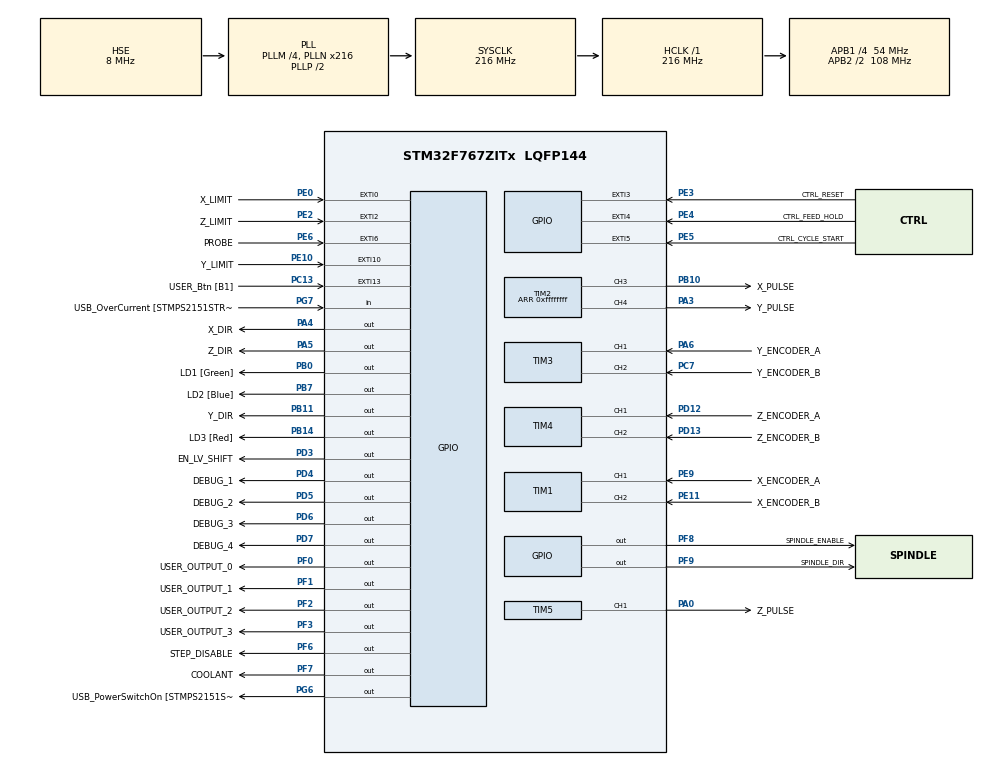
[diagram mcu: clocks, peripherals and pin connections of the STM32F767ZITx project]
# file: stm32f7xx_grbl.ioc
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Dma.Request0=TIM2_UP/CH3
Dma.Request1=TIM2_CH2/CH4
Dma.Request2=TIM5_CH1
Dma.TIM2_CH2/CH4.1.Direction=DMA_MEMORY_TO_PERIPH
Dma.TIM2_CH2/CH4.1.FIFOMode=DMA_FIFOMODE_DISABLE
Dma.TIM2_CH2/CH4.1.Instance=DMA1_Stream6
Dma.TIM2_CH2/CH4.1.MemDataAlignment=DMA_MDATAALIGN_WORD
Dma.TIM2_CH2/CH4.1.MemInc=DMA_MINC_ENABLE
Dma.TIM2_CH2/CH4.1.Mode=DMA_NORMAL
Dma.TIM2_CH2/CH4.1.PeriphDataAlignment=DMA_PDATAALIGN_WORD
Dma.TIM2_CH2/CH4.1.PeriphInc=DMA_PINC_DISABLE
Dma.TIM2_CH2/CH4.1.Priority=DMA_PRIORITY_HIGH
Dma.TIM2_UP/CH3.0.Direction=DMA_MEMORY_TO_PERIPH
Dma.TIM2_UP/CH3.0.FIFOMode=DMA_FIFOMODE_DISABLE
Dma.TIM2_UP/CH3.0.Instance=DMA1_Stream1
Dma.TIM2_UP/CH3.0.MemDataAlignment=DMA_MDATAALIGN_WORD
Dma.TIM2_UP/CH3.0.MemInc=DMA_MINC_ENABLE
Dma.TIM2_UP/CH3.0.Mode=DMA_NORMAL
Dma.TIM2_UP/CH3.0.PeriphDataAlignment=DMA_PDATAALIGN_WORD
Dma.TIM2_UP/CH3.0.PeriphInc=DMA_PINC_DISABLE
Dma.TIM2_UP/CH3.0.Priority=DMA_PRIORITY_HIGH
Dma.TIM5_CH1.2.Direction=DMA_MEMORY_TO_PERIPH
Dma.TIM5_CH1.2.FIFOMode=DMA_FIFOMODE_DISABLE
Dma.TIM5_CH1.2.Instance=DMA1_Stream2
Dma.TIM5_CH1.2.MemDataAlignment=DMA_MDATAALIGN_WORD
Dma.TIM5_CH1.2.MemInc=DMA_MINC_ENABLE
Dma.TIM5_CH1.2.Mode=DMA_NORMAL
Dma.TIM5_CH1.2.PeriphDataAlignment=DMA_PDATAALIGN_WORD
Dma.TIM5_CH1.2.PeriphInc=DMA_PINC_DISABLE
Dma.TIM5_CH1.2.Priority=DMA_PRIORITY_HIGH
Mcu.Family=STM32F7
Mcu.Name=STM32F767ZITx
Mcu.Package=LQFP144
NVIC.DMA1_Stream1_IRQn=true\:0\:0\:true\:false\:true\:false\:true\:true
NVIC.DMA1_Stream2_IRQn=true\:0\:0\:true\:false\:true\:false\:true\:true
NVIC.DMA1_Stream6_IRQn=true\:0\:0\:true\:false\:true\:false\:true\:true
NVIC.EXTI0_IRQn=true\:2\:0\:true\:false\:true\:true\:true\:true
NVIC.EXTI15_10_IRQn=true\:2\:0\:true\:false\:true\:true\:true\:true
NVIC.EXTI2_IRQn=true\:2\:0\:true\:false\:true\:true\:true\:true
NVIC.EXTI3_IRQn=true\:2\:0\:true\:false\:true\:true\:true\:true
NVIC.EXTI4_IRQn=true\:15\:0\:true\:false\:true\:true\:true\:true
NVIC.EXTI9_5_IRQn=true\:14\:0\:true\:false\:true\:true\:true\:true
NVIC.PriorityGroup=NVIC_PRIORITYGROUP_4
NVIC.TIM6_DAC_IRQn=true\:15\:0\:false\:false\:true\:false\:true\:true
NVIC.TIM7_IRQn=true\:13\:0\:true\:false\:true\:true\:true\:true
NVIC.TIM8_TRG_COM_TIM14_IRQn=true\:1\:0\:true\:false\:true\:true\:true\:true
NVIC.TimeBase=TIM6_DAC_IRQn
NVIC.TimeBaseIP=TIM6
PA0/WKUP.GPIO_Label=Z_PULSE
PA0/WKUP.GPIO_ModeDefaultPP=GPIO_MODE_AF_PP
PA0/WKUP.GPIO_PuPd=GPIO_NOPULL
PA0/WKUP.GPIO_Speed=GPIO_SPEED_FREQ_HIGH
PA0/WKUP.Signal=S_TIM5_CH1
PA1.GPIO_Label=RMII_REF_CLK [LAN8742A-CZ-TR_REFCLK0]
PA1.Signal=ETH_REF_CLK
PA10.GPIO_Label=USB_ID
PA10.Signal=USB_OTG_FS_ID
PA11.GPIO_Label=USB_DM
PA11.Signal=USB_OTG_FS_DM
PA12.GPIO_Label=USB_DP
PA12.Signal=USB_OTG_FS_DP
PA13.GPIO_Label=TMS
PA13.Mode=Serial_Wire
PA13.Signal=SYS_JTMS-SWDIO
PA14.GPIO_Label=TCK
PA14.Mode=Serial_Wire
PA14.Signal=SYS_JTCK-SWCLK
PA2.GPIO_Label=RMII_MDIO [LAN8742A-CZ-TR_MDIO]
PA2.Signal=ETH_MDIO
PA3.GPIO_Label=Y_PULSE
PA3.GPIO_ModeDefaultPP=GPIO_MODE_AF_PP
PA3.GPIO_PuPd=GPIO_NOPULL
PA3.GPIO_Speed=GPIO_SPEED_FREQ_LOW
PA3.Signal=S_TIM2_CH4
PA4.GPIO_Label=X_DIR
PA4.GPIO_ModeDefaultOutputPP=GPIO_MODE_OUTPUT_OD
PA4.GPIO_PuPd=GPIO_NOPULL
PA4.GPIO_Speed=GPIO_SPEED_FREQ_HIGH
PA4.PinState=GPIO_PIN_SET
PA4.Signal=GPIO_Output
PA5.GPIO_Label=Z_DIR
PA5.GPIO_ModeDefaultOutputPP=GPIO_MODE_OUTPUT_OD
PA5.GPIO_PuPd=GPIO_NOPULL
PA5.GPIO_Speed=GPIO_SPEED_FREQ_HIGH
PA5.PinState=GPIO_PIN_SET
PA5.Signal=GPIO_Output
PA6.GPIO_Label=Y_ENCODER_A
PA6.Signal=S_TIM3_CH1
PA7.GPIO_Label=RMII_CRS_DV [LAN8742A-CZ-TR_CRS_DV]
PA7.Signal=ETH_CRS_DV
PA8.GPIO_Label=USB_SOF [TP1]
PA8.Signal=USB_OTG_FS_SOF
PA9.GPIO_Label=USB_VBUS
PA9.Signal=USB_OTG_FS_VBUS
PB0.GPIO_Label=LD1 [Green]
PB0.Signal=GPIO_Output
PB10.GPIO_Label=X_PULSE
PB10.GPIO_ModeDefaultPP=GPIO_MODE_AF_PP
PB10.GPIO_PuPd=GPIO_NOPULL
PB10.GPIO_Speed=GPIO_SPEED_FREQ_LOW
PB10.Signal=S_TIM2_CH3
PB11.GPIO_Label=Y_DIR
PB11.GPIO_ModeDefaultOutputPP=GPIO_MODE_OUTPUT_OD
PB11.GPIO_PuPd=GPIO_NOPULL
PB11.GPIO_Speed=GPIO_SPEED_FREQ_HIGH
PB11.PinState=GPIO_PIN_SET
PB11.Signal=GPIO_Output
PB13.GPIO_Label=RMII_TXD1 [LAN8742A-CZ-TR_TXD1]
PB13.Signal=ETH_TXD1
PB14.GPIO_Label=LD3 [Red]
PB14.Signal=GPIO_Output
PB3.GPIO_Label=SW0
PB3.Signal=SYS_JTDO-SWO
PB7.GPIO_Label=LD2 [Blue]
PB7.Signal=GPIO_Output
PC1.GPIO_Label=RMII_MDC [LAN8742A-CZ-TR_MDC]
PC1.Signal=ETH_MDC
PC13.GPIO_Label=USER_Btn [B1]
PC13.Signal=GPXTI13
PC14/OSC32_IN.Mode=LSE-External-Oscillator
PC14/OSC32_IN.Signal=RCC_OSC32_IN
PC15/OSC32_OUT.Mode=LSE-External-Oscillator
PC15/OSC32_OUT.Signal=RCC_OSC32_OUT
PC4.GPIO_Label=RMII_RXD0 [LAN8742A-CZ-TR_RXD0]
PC4.Signal=ETH_RXD0
PC5.GPIO_Label=RMII_RXD1 [LAN8742A-CZ-TR_RXD1]
PC5.Signal=ETH_RXD1
PC7.GPIO_Label=Y_ENCODER_B
PC7.Signal=S_TIM3_CH2
PD12.GPIO_Label=Z_ENCODER_A
PD12.Signal=S_TIM4_CH1
PD13.GPIO_Label=Z_ENCODER_B
PD13.Signal=S_TIM4_CH2
PD3.GPIO_Label=EN_LV_SHIFT
PD3.GPIO_ModeDefaultOutputPP=GPIO_MODE_OUTPUT_OD
PD3.GPIO_PuPd=GPIO_NOPULL
PD3.Signal=GPIO_Output
PD4.GPIO_Label=DEBUG_1
PD4.Signal=GPIO_Output
PD5.GPIO_Label=DEBUG_2
PD5.Signal=GPIO_Output
PD6.GPIO_Label=DEBUG_3
PD6.Signal=GPIO_Output
PD7.GPIO_Label=DEBUG_4
PD7.Signal=GPIO_Output
PD8.GPIO_Label=STLK_RX [STM32F103CBT6_PA3]
PD8.Signal=USART3_TX
PD9.GPIO_Label=STLK_TX [STM32F103CBT6_PA2]
PD9.Signal=USART3_RX
PE0.GPIO_Label=X_LIMIT
PE0.GPIO_ModeDefaultEXTI=GPIO_MODE_IT_RISING_FALLING
PE0.GPIO_PuPd=GPIO_PULLUP
PE0.Signal=GPXTI0
PE10.GPIO_Label=Y_LIMIT
PE10.GPIO_ModeDefaultEXTI=GPIO_MODE_IT_RISING_FALLING
PE10.GPIO_PuPd=GPIO_PULLUP
PE10.Signal=GPXTI10
PE11.GPIO_Label=X_ENCODER_B
PE11.Signal=S_TIM1_CH2
PE2.GPIO_Label=Z_LIMIT
PE2.GPIO_ModeDefaultEXTI=GPIO_MODE_IT_RISING_FALLING
PE2.GPIO_PuPd=GPIO_PULLUP
PE2.Signal=GPXTI2
PE3.GPIO_Label=CTRL_RESET
PE3.GPIO_ModeDefaultEXTI=GPIO_MODE_IT_RISING_FALLING
PE3.GPIO_PuPd=GPIO_PULLUP
PE3.Signal=GPXTI3
PE4.GPIO_Label=CTRL_FEED_HOLD
PE4.GPIO_ModeDefaultEXTI=GPIO_MODE_IT_RISING_FALLING
PE4.GPIO_PuPd=GPIO_PULLUP
PE4.Signal=GPXTI4
PE5.GPIO_Label=CTRL_CYCLE_START
PE5.GPIO_ModeDefaultEXTI=GPIO_MODE_IT_RISING_FALLING
PE5.GPIO_PuPd=GPIO_PULLUP
PE5.Signal=GPXTI5
PE6.GPIO_Label=PROBE
PE6.GPIO_ModeDefaultEXTI=GPIO_MODE_IT_RISING_FALLING
PE6.GPIO_PuPd=GPIO_PULLUP
PE6.Signal=GPXTI6
PE9.GPIO_Label=X_ENCODER_A
PE9.Signal=S_TIM1_CH1
PF0.GPIO_Label=USER_OUTPUT_0
PF0.GPIO_ModeDefaultOutputPP=GPIO_MODE_OUTPUT_OD
PF0.GPIO_PuPd=GPIO_NOPULL
PF0.PinState=GPIO_PIN_SET
PF0.Signal=GPIO_Output
PF1.GPIO_Label=USER_OUTPUT_1
PF1.GPIO_ModeDefaultOutputPP=GPIO_MODE_OUTPUT_OD
PF1.GPIO_PuPd=GPIO_NOPULL
PF1.PinState=GPIO_PIN_SET
PF1.Signal=GPIO_Output
PF2.GPIO_Label=USER_OUTPUT_2
PF2.GPIO_ModeDefaultOutputPP=GPIO_MODE_OUTPUT_OD
PF2.GPIO_PuPd=GPIO_NOPULL
PF2.PinState=GPIO_PIN_SET
PF2.Signal=GPIO_Output
PF3.GPIO_Label=USER_OUTPUT_3
PF3.GPIO_ModeDefaultOutputPP=GPIO_MODE_OUTPUT_OD
PF3.GPIO_PuPd=GPIO_NOPULL
PF3.PinState=GPIO_PIN_SET
PF3.Signal=GPIO_Output
PF6.GPIO_Label=STEP_DISABLE
PF6.GPIO_ModeDefaultOutputPP=GPIO_MODE_OUTPUT_OD
PF6.GPIO_PuPd=GPIO_NOPULL
PF6.PinState=GPIO_PIN_SET
PF6.Signal=GPIO_Output
PF7.GPIO_Label=COOLANT
PF7.GPIO_ModeDefaultOutputPP=GPIO_MODE_OUTPUT_OD
PF7.GPIO_PuPd=GPIO_NOPULL
PF7.PinState=GPIO_PIN_SET
PF7.Signal=GPIO_Output
PF8.GPIO_Label=SPINDLE_ENABLE
PF8.GPIO_ModeDefaultOutputPP=GPIO_MODE_OUTPUT_OD
PF8.GPIO_PuPd=GPIO_NOPULL
PF8.PinState=GPIO_PIN_SET
PF8.Signal=GPIO_Output
PF9.GPIO_Label=SPINDLE_DIR
PF9.GPIO_ModeDefaultOutputPP=GPIO_MODE_OUTPUT_OD
PF9.GPIO_PuPd=GPIO_NOPULL
PF9.PinState=GPIO_PIN_SET
PF9.Signal=GPIO_Output
PG11.GPIO_Label=RMII_TX_EN [LAN8742A-CZ-TR_TXEN]
PG11.Signal=ETH_TX_EN
PG13.GPIO_Label=RMII_TXD0 [LAN8742A-CZ-TR_TXD0]
PG13.Signal=ETH_TXD0
PG6.GPIO_Label=USB_PowerSwitchOn [STMPS2151STR_EN]
PG6.Signal=GPIO_Output
PG7.GPIO_Label=USB_OverCurrent [STMPS2151STR_FAULT]
PG7.Signal=GPIO_Input
PH0/OSC_IN.GPIO_Label=MCO [STM32F103CBT6_PA8]
PH0/OSC_IN.Mode=HSE-External-Clock-Source
PH0/OSC_IN.Signal=RCC_OSC_IN
PH1/OSC_OUT.Mode=HSE-External-Clock-Source
PH1/OSC_OUT.Signal=RCC_OSC_OUT
ProjectManager.HeapSize=0x200
ProjectManager.StackSize=0x400
ProjectManager.TargetToolchain=STM32CubeIDE
RCC.48MHZClocksFreq_Value=24000000
RCC.AHBFreq_Value=216000000
RCC.APB1CLKDivider=RCC_HCLK_DIV4
RCC.APB1Freq_Value=54000000
RCC.APB1TimFreq_Value=108000000
RCC.APB2CLKDivider=RCC_HCLK_DIV2
RCC.APB2Freq_Value=108000000
RCC.APB2TimFreq_Value=216000000
RCC.CortexFreq_Value=216000000
RCC.HCLKFreq_Value=216000000
RCC.HSE_VALUE=8000000
RCC.HSI_VALUE=16000000
RCC.PLLM=4
RCC.PLLMUL=RCC_PLL_MUL9
RCC.PLLN=216
RCC.PLLSourceVirtual=RCC_PLLSOURCE_HSE
RCC.PRESCALERUSB=RCC_USBCLKSOURCE_PLL_DIV1_5
RCC.SYSCLKFreq_VALUE=216000000
RCC.SYSCLKSource=RCC_SYSCLKSOURCE_PLLCLK
RCC.SYSCLKSourceVirtual=RCC_SYSCLKSOURCE_PLLCLK
RCC.USBFreq_Value=216000000
RCC.VCOOutputFreq_Value=432000000
SH.S_TIM1_CH1.0=TIM1_CH1,Encoder_Interface
SH.S_TIM1_CH2.0=TIM1_CH2,Encoder_Interface
SH.S_TIM2_CH3.0=TIM2_CH3,Output Compare3 CH3
SH.S_TIM2_CH4.0=TIM2_CH4,Output Compare4 CH4
SH.S_TIM3_CH1.0=TIM3_CH1,Encoder_Interface
SH.S_TIM3_CH2.0=TIM3_CH2,Encoder_Interface
SH.S_TIM4_CH1.0=TIM4_CH1,Encoder_Interface
SH.S_TIM4_CH2.0=TIM4_CH2,Encoder_Interface
SH.S_TIM5_CH1.0=TIM5_CH1,Output Compare1 CH1
TIM1.EncoderMode=TIM_ENCODERMODE_TI12
TIM14.AutoReloadPreload=TIM_AUTORELOAD_PRELOAD_DISABLE
TIM14.Period=107
TIM14.Prescaler=0
TIM2.Channel-Output\ Compare3\ CH3=TIM_CHANNEL_3
TIM2.Channel-Output\ Compare4\ CH4=TIM_CHANNEL_4
TIM2.OCMode_3=TIM_OCMODE_TOGGLE
TIM2.OCMode_4=TIM_OCMODE_TOGGLE
TIM2.OCPolarity_3=TIM_OCPOLARITY_HIGH
TIM2.OCPolarity_4=TIM_OCPOLARITY_HIGH
TIM2.Period=0xffffffff
TIM2.TIM_MasterOutputTrigger=TIM_TRGO_ENABLE
TIM2.TIM_MasterSlaveMode=TIM_MASTERSLAVEMODE_ENABLE
TIM3.EncoderMode=TIM_ENCODERMODE_TI12
TIM4.EncoderMode=TIM_ENCODERMODE_TI12
TIM5.Channel-Output\ Compare1\ CH1=TIM_CHANNEL_1
TIM5.OCMode_1=TIM_OCMODE_TOGGLE
TIM5.OCPolarity_1=TIM_OCPOLARITY_HIGH
TIM7.Period=3276
TIM7.Prescaler=10799
VP_SYS_VS_tim6.Mode=TIM6
VP_TIM14_VS_ClockSourceINT.Mode=Enable_Timer
VP_TIM2_VS_ClockSourceINT.Mode=Internal
VP_TIM5_VS_ClockSourceINT.Mode=Internal
VP_TIM5_VS_ClockSourceITR.Mode=TriggerSource_ITR0
VP_TIM5_VS_ControllerModeGated.Mode=Gated Mode
VP_TIM7_VS_ClockSourceINT.Mode=Enable_Timer
VP_WWDG_VS_WWDG.Mode=WWDG_Activate
WWDG.Counter=64
WWDG.Prescaler=WWDG_PRESCALER_8
WWDG.Window=64
board=NUCLEO-F767ZI

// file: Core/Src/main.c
/* USER CODE BEGIN Header */
/**
 ******************************************************************************
 * @file           : main.c
 * @brief          : Main program body
 ******************************************************************************
 * @attention
 *
 * Copyright (c) 2024 STMicroelectronics.
 * All rights reserved.
 *
 * This software is licensed under terms that can be found in the LICENSE file
 * in the root directory of this software component.
 * If no LICENSE file comes with this software, it is provided AS-IS.
 *
 ******************************************************************************
 */
/* USER CODE END Header */
#include "main.h"

/* USER CODE BEGIN Includes */
#include <stdarg.h>
#include <stdio.h>
#include "stm32f7xx_grbl.h"
#include "encoder.h"
#include "grbl.h"

/* USER CODE END Includes */

TIM_HandleTypeDef htim1;
TIM_HandleTypeDef htim2;
TIM_HandleTypeDef htim3;
TIM_HandleTypeDef htim4;
TIM_HandleTypeDef htim5;
TIM_HandleTypeDef htim7;
TIM_HandleTypeDef htim14;
DMA_HandleTypeDef hdma_tim2_up_ch3;
DMA_HandleTypeDef hdma_tim2_ch2_ch4;
DMA_HandleTypeDef hdma_tim5_ch1;

WWDG_HandleTypeDef hwwdg;

/* USER CODE BEGIN PV */
TaskHandle_t mainGRBLTaskHandle = NULL;
extern uint8_t stepBlockedAxes;
SemaphoreHandle_t loggingSemaphoreHandle;
extern SemaphoreHandle_t deleteTaskSemaphoreHandle;
uint8_t wwdgStartFlag = 0;

/* USER CODE END PV */

void SystemClock_Config(void);
static void MX_GPIO_Init(void);
static void MX_DMA_Init(void);
static void MX_TIM3_Init(void);
static void MX_TIM4_Init(void);
static void MX_TIM2_Init(void);
static void MX_TIM1_Init(void);
static void MX_TIM5_Init(void);
static void MX_TIM7_Init(void);
static void MX_TIM14_Init(void);
static void MX_WWDG_Init(void);

int main(void)
{

  /* USER CODE BEGIN 1 */
  // Enable the Cortex-M7 instruction cache. Without it, code runs straight from
  // Flash with wait-states (FLASH_LATENCY_7 @ 216 MHz), making hot paths like
  // stepCalculatePulseData several times slower than necessary. The I-cache only
  // caches instruction fetches, so there is no DMA coherency concern (unlike the
  // D-cache, which would need MPU/cache-maintenance for the DMA buffers).
  SCB_EnableICache();

  // initialize the handle of semaphore for logging
  // to protect the critical section in the vLoggingPrintf function.
  loggingSemaphoreHandle = xSemaphoreCreateBinary();
  xSemaphoreGive(loggingSemaphoreHandle);

  /* USER CODE END 1 */

  /* MCU Configuration--------------------------------------------------------*/

  /* Reset of all peripherals, Initializes the Flash interface and the Systick. */
  HAL_Init();

  /* USER CODE BEGIN Init */
  // set priority grouping to 0 to pass the assertion of FreeRTOS at port.c
  HAL_NVIC_SetPriorityGrouping(0);

  /* USER CODE END Init */

  /* Configure the system clock */
  SystemClock_Config();

  /* Initialize all configured peripherals */
  MX_GPIO_Init();
  MX_DMA_Init();
  MX_TIM3_Init();
  MX_TIM4_Init();
  MX_TIM2_Init();
  MX_TIM1_Init();
  MX_TIM5_Init();
  MX_TIM7_Init();
  MX_TIM14_Init();
  MX_WWDG_Init();
  /* USER CODE BEGIN 2 */
  // start Timer 7
  HAL_TIM_Base_Start_IT(&htim7);

  // start Timer 1 in encoder mode
  HAL_TIM_Encoder_Start(&htim1, TIM_CHANNEL_ALL);

  // start microsecond timer and software timer in FreeRTOS
  utilsStartUsTimer(&htim14);

  // create grbl task
  xTaskCreate(mainGRBL, "grblTask", configMINIMAL_STACK_SIZE * 5, NULL, tskIDLE_PRIORITY, &mainGRBLTaskHandle);

  // start scheduler
  vTaskStartScheduler();

  /* It should never get here as the scheduler is started. */

  /* USER CODE END 2 */

  /* Infinite loop */
  while (1)
  {

  }
}

void SystemClock_Config(void)
{
  RCC_OscInitTypeDef RCC_OscInitStruct = {0};
  RCC_ClkInitTypeDef RCC_ClkInitStruct = {0};

  /** Configure LSE Drive Capability
  */
  HAL_PWR_EnableBkUpAccess();

  /** Configure the main internal regulator output voltage
  */
  __HAL_RCC_PWR_CLK_ENABLE();
  __HAL_PWR_VOLTAGESCALING_CONFIG(PWR_REGULATOR_VOLTAGE_SCALE1);

  /** Initializes the RCC Oscillators according to the specified parameters
  * in the RCC_OscInitTypeDef structure.
  */
  RCC_OscInitStruct.OscillatorType = RCC_OSCILLATORTYPE_HSE;
  RCC_OscInitStruct.HSEState = RCC_HSE_BYPASS;
  RCC_OscInitStruct.PLL.PLLState = RCC_PLL_ON;
  RCC_OscInitStruct.PLL.PLLSource = RCC_PLLSOURCE_HSE;
  RCC_OscInitStruct.PLL.PLLM = 4;
  RCC_OscInitStruct.PLL.PLLN = 216;
  RCC_OscInitStruct.PLL.PLLP = RCC_PLLP_DIV2;
  RCC_OscInitStruct.PLL.PLLQ = 2;
  RCC_OscInitStruct.PLL.PLLR = 2;
  if (HAL_RCC_OscConfig(&RCC_OscInitStruct) != HAL_OK)
  {
    Error_Handler();
  }

  /** Activate the Over-Drive mode
  */
  if (HAL_PWREx_EnableOverDrive() != HAL_OK)
  {
    Error_Handler();
  }

  /** Initializes the CPU, AHB and APB buses clocks
  */
  RCC_ClkInitStruct.ClockType = RCC_CLOCKTYPE_HCLK|RCC_CLOCKTYPE_SYSCLK
                              |RCC_CLOCKTYPE_PCLK1|RCC_CLOCKTYPE_PCLK2;
  RCC_ClkInitStruct.SYSCLKSource = RCC_SYSCLKSOURCE_PLLCLK;
  RCC_ClkInitStruct.AHBCLKDivider = RCC_SYSCLK_DIV1;
  RCC_ClkInitStruct.APB1CLKDivider = RCC_HCLK_DIV4;
  RCC_ClkInitStruct.APB2CLKDivider = RCC_HCLK_DIV2;

  if (HAL_RCC_ClockConfig(&RCC_ClkInitStruct, FLASH_LATENCY_7) != HAL_OK)
  {
    Error_Handler();
  }
}

static void MX_TIM1_Init(void)
{

  TIM_Encoder_InitTypeDef sConfig = {0};
  TIM_MasterConfigTypeDef sMasterConfig = {0};

  htim1.Instance = TIM1;
  htim1.Init.Prescaler = 0;
  htim1.Init.CounterMode = TIM_COUNTERMODE_UP;
  htim1.Init.Period = 65535;
  htim1.Init.ClockDivision = TIM_CLOCKDIVISION_DIV1;
  htim1.Init.RepetitionCounter = 0;
  htim1.Init.AutoReloadPreload = TIM_AUTORELOAD_PRELOAD_DISABLE;
  sConfig.EncoderMode = TIM_ENCODERMODE_TI12;
  sConfig.IC1Polarity = TIM_ICPOLARITY_RISING;
  sConfig.IC1Selection = TIM_ICSELECTION_DIRECTTI;
  sConfig.IC1Prescaler = TIM_ICPSC_DIV1;
  sConfig.IC1Filter = 0;
  sConfig.IC2Polarity = TIM_ICPOLARITY_RISING;
  sConfig.IC2Selection = TIM_ICSELECTION_DIRECTTI;
  sConfig.IC2Prescaler = TIM_ICPSC_DIV1;
  sConfig.IC2Filter = 0;
  if (HAL_TIM_Encoder_Init(&htim1, &sConfig) != HAL_OK)
  {
    Error_Handler();
  }
  sMasterConfig.MasterOutputTrigger = TIM_TRGO_RESET;
  sMasterConfig.MasterOutputTrigger2 = TIM_TRGO2_RESET;
  sMasterConfig.MasterSlaveMode = TIM_MASTERSLAVEMODE_DISABLE;
  if (HAL_TIMEx_MasterConfigSynchronization(&htim1, &sMasterConfig) != HAL_OK)
  {
    Error_Handler();
  }

}

static void MX_TIM2_Init(void)
{

  TIM_ClockConfigTypeDef sClockSourceConfig = {0};
  TIM_MasterConfigTypeDef sMasterConfig = {0};
  TIM_OC_InitTypeDef sConfigOC = {0};

  htim2.Instance = TIM2;
  htim2.Init.Prescaler = 0;
  htim2.Init.CounterMode = TIM_COUNTERMODE_UP;
  htim2.Init.Period = 0xffffffff;
  htim2.Init.ClockDivision = TIM_CLOCKDIVISION_DIV1;
  htim2.Init.AutoReloadPreload = TIM_AUTORELOAD_PRELOAD_DISABLE;
  if (HAL_TIM_Base_Init(&htim2) != HAL_OK)
  {
    Error_Handler();
  }
  sClockSourceConfig.ClockSource = TIM_CLOCKSOURCE_INTERNAL;
  if (HAL_TIM_ConfigClockSource(&htim2, &sClockSourceConfig) != HAL_OK)
  {
    Error_Handler();
  }
  if (HAL_TIM_OC_Init(&htim2) != HAL_OK)
  {
    Error_Handler();
  }
  sMasterConfig.MasterOutputTrigger = TIM_TRGO_ENABLE;
  sMasterConfig.MasterSlaveMode = TIM_MASTERSLAVEMODE_ENABLE;
  if (HAL_TIMEx_MasterConfigSynchronization(&htim2, &sMasterConfig) != HAL_OK)
  {
    Error_Handler();
  }
  sConfigOC.OCMode = TIM_OCMODE_TOGGLE;
  sConfigOC.Pulse = 0;
  sConfigOC.OCPolarity = TIM_OCPOLARITY_HIGH;
  sConfigOC.OCFastMode = TIM_OCFAST_DISABLE;
  if (HAL_TIM_OC_ConfigChannel(&htim2, &sConfigOC, TIM_CHANNEL_3) != HAL_OK)
  {
    Error_Handler();
  }
  if (HAL_TIM_OC_ConfigChannel(&htim2, &sConfigOC, TIM_CHANNEL_4) != HAL_OK)
  {
    Error_Handler();
  }
  HAL_TIM_MspPostInit(&htim2);

}

static void MX_TIM3_Init(void)
{

  TIM_Encoder_InitTypeDef sConfig = {0};
  TIM_MasterConfigTypeDef sMasterConfig = {0};

  htim3.Instance = TIM3;
  htim3.Init.Prescaler = 0;
  htim3.Init.CounterMode = TIM_COUNTERMODE_UP;
  htim3.Init.Period = 65535;
  htim3.Init.ClockDivision = TIM_CLOCKDIVISION_DIV1;
  htim3.Init.AutoReloadPreload = TIM_AUTORELOAD_PRELOAD_DISABLE;
  sConfig.EncoderMode = TIM_ENCODERMODE_TI12;
  sConfig.IC1Polarity = TIM_ICPOLARITY_RISING;
  sConfig.IC1Selection = TIM_ICSELECTION_DIRECTTI;
  sConfig.IC1Prescaler = TIM_ICPSC_DIV1;
  sConfig.IC1Filter = 0;
  sConfig.IC2Polarity = TIM_ICPOLARITY_RISING;
  sConfig.IC2Selection = TIM_ICSELECTION_DIRECTTI;
  sConfig.IC2Prescaler = TIM_ICPSC_DIV1;
  sConfig.IC2Filter = 0;
  if (HAL_TIM_Encoder_Init(&htim3, &sConfig) != HAL_OK)
  {
    Error_Handler();
  }
  sMasterConfig.MasterOutputTrigger = TIM_TRGO_RESET;
  sMasterConfig.MasterSlaveMode = TIM_MASTERSLAVEMODE_DISABLE;
  if (HAL_TIMEx_MasterConfigSynchronization(&htim3, &sMasterConfig) != HAL_OK)
  {
    Error_Handler();
  }

}

static void MX_TIM4_Init(void)
{

  TIM_Encoder_InitTypeDef sConfig = {0};
  TIM_MasterConfigTypeDef sMasterConfig = {0};

  htim4.Instance = TIM4;
  htim4.Init.Prescaler = 0;
  htim4.Init.CounterMode = TIM_COUNTERMODE_UP;
  htim4.Init.Period = 65535;
  htim4.Init.ClockDivision = TIM_CLOCKDIVISION_DIV1;
  htim4.Init.AutoReloadPreload = TIM_AUTORELOAD_PRELOAD_DISABLE;
  sConfig.EncoderMode = TIM_ENCODERMODE_TI12;
  sConfig.IC1Polarity = TIM_ICPOLARITY_RISING;
  sConfig.IC1Selection = TIM_ICSELECTION_DIRECTTI;
  sConfig.IC1Prescaler = TIM_ICPSC_DIV1;
  sConfig.IC1Filter = 0;
  sConfig.IC2Polarity = TIM_ICPOLARITY_RISING;
  sConfig.IC2Selection = TIM_ICSELECTION_DIRECTTI;
  sConfig.IC2Prescaler = TIM_ICPSC_DIV1;
  sConfig.IC2Filter = 0;
  if (HAL_TIM_Encoder_Init(&htim4, &sConfig) != HAL_OK)
  {
    Error_Handler();
  }
  sMasterConfig.MasterOutputTrigger = TIM_TRGO_RESET;
  sMasterConfig.MasterSlaveMode = TIM_MASTERSLAVEMODE_DISABLE;
  if (HAL_TIMEx_MasterConfigSynchronization(&htim4, &sMasterConfig) != HAL_OK)
  {
    Error_Handler();
  }

}

static void MX_TIM5_Init(void)
{

  TIM_ClockConfigTypeDef sClockSourceConfig = {0};
  TIM_SlaveConfigTypeDef sSlaveConfig = {0};
  TIM_MasterConfigTypeDef sMasterConfig = {0};
  TIM_OC_InitTypeDef sConfigOC = {0};

  htim5.Instance = TIM5;
  htim5.Init.Prescaler = 0;
  htim5.Init.CounterMode = TIM_COUNTERMODE_UP;
  htim5.Init.Period = 4294967295;
  htim5.Init.ClockDivision = TIM_CLOCKDIVISION_DIV1;
  htim5.Init.AutoReloadPreload = TIM_AUTORELOAD_PRELOAD_DISABLE;
  if (HAL_TIM_Base_Init(&htim5) != HAL_OK)
  {
    Error_Handler();
  }
  sClockSourceConfig.ClockSource = TIM_CLOCKSOURCE_INTERNAL;
  if (HAL_TIM_ConfigClockSource(&htim5, &sClockSourceConfig) != HAL_OK)
  {
    Error_Handler();
  }
  if (HAL_TIM_OC_Init(&htim5) != HAL_OK)
  {
    Error_Handler();
  }
  sSlaveConfig.SlaveMode = TIM_SLAVEMODE_GATED;
  sSlaveConfig.InputTrigger = TIM_TS_ITR0;
  if (HAL_TIM_SlaveConfigSynchro(&htim5, &sSlaveConfig) != HAL_OK)
  {
    Error_Handler();
  }
  sMasterConfig.MasterOutputTrigger = TIM_TRGO_RESET;
  sMasterConfig.MasterSlaveMode = TIM_MASTERSLAVEMODE_DISABLE;
  if (HAL_TIMEx_MasterConfigSynchronization(&htim5, &sMasterConfig) != HAL_OK)
  {
    Error_Handler();
  }
  sConfigOC.OCMode = TIM_OCMODE_TOGGLE;
  sConfigOC.Pulse = 0;
  sConfigOC.OCPolarity = TIM_OCPOLARITY_HIGH;
  sConfigOC.OCFastMode = TIM_OCFAST_DISABLE;
  if (HAL_TIM_OC_ConfigChannel(&htim5, &sConfigOC, TIM_CHANNEL_1) != HAL_OK)
  {
    Error_Handler();
  }
  HAL_TIM_MspPostInit(&htim5);

}

static void MX_TIM7_Init(void)
{

  TIM_MasterConfigTypeDef sMasterConfig = {0};

  htim7.Instance = TIM7;
  htim7.Init.Prescaler = 10799;
  htim7.Init.CounterMode = TIM_COUNTERMODE_UP;
  htim7.Init.Period = 3276;
  htim7.Init.AutoReloadPreload = TIM_AUTORELOAD_PRELOAD_DISABLE;
  if (HAL_TIM_Base_Init(&htim7) != HAL_OK)
  {
    Error_Handler();
  }
  sMasterConfig.MasterOutputTrigger = TIM_TRGO_RESET;
  sMasterConfig.MasterSlaveMode = TIM_MASTERSLAVEMODE_DISABLE;
  if (HAL_TIMEx_MasterConfigSynchronization(&htim7, &sMasterConfig) != HAL_OK)
  {
    Error_Handler();
  }

}

static void MX_TIM14_Init(void)
{

  htim14.Instance = TIM14;
  htim14.Init.Prescaler = 0;
  htim14.Init.CounterMode = TIM_COUNTERMODE_UP;
  htim14.Init.Period = 107;
  htim14.Init.ClockDivision = TIM_CLOCKDIVISION_DIV1;
  htim14.Init.AutoReloadPreload = TIM_AUTORELOAD_PRELOAD_DISABLE;
  if (HAL_TIM_Base_Init(&htim14) != HAL_OK)
  {
    Error_Handler();
  }

}

static void MX_WWDG_Init(void)
{

  /* USER CODE BEGIN WWDG_Init 0 */
  if (wwdgStartFlag == 0)
  {
    return;
  }

  /* USER CODE END WWDG_Init 0 */

  hwwdg.Instance = WWDG;
  hwwdg.Init.Prescaler = WWDG_PRESCALER_8;
  hwwdg.Init.Window = 64;
  hwwdg.Init.Counter = 64;
  hwwdg.Init.EWIMode = WWDG_EWI_DISABLE;
  if (HAL_WWDG_Init(&hwwdg) != HAL_OK)
  {
    Error_Handler();
  }

}

static void MX_DMA_Init(void)
{

  /* DMA controller clock enable */
  __HAL_RCC_DMA1_CLK_ENABLE();

  /* DMA interrupt init */
  /* DMA1_Stream1_IRQn interrupt configuration */
  HAL_NVIC_SetPriority(DMA1_Stream1_IRQn, 0, 0);
  HAL_NVIC_EnableIRQ(DMA1_Stream1_IRQn);
  /* DMA1_Stream2_IRQn interrupt configuration */
  HAL_NVIC_SetPriority(DMA1_Stream2_IRQn, 0, 0);
  HAL_NVIC_EnableIRQ(DMA1_Stream2_IRQn);
  /* DMA1_Stream6_IRQn interrupt configuration */
  HAL_NVIC_SetPriority(DMA1_Stream6_IRQn, 0, 0);
  HAL_NVIC_EnableIRQ(DMA1_Stream6_IRQn);

}

static void MX_GPIO_Init(void)
{
  GPIO_InitTypeDef GPIO_InitStruct = {0};

  /* GPIO Ports Clock Enable */
  __HAL_RCC_GPIOE_CLK_ENABLE();
  __HAL_RCC_GPIOC_CLK_ENABLE();
  __HAL_RCC_GPIOF_CLK_ENABLE();
  __HAL_RCC_GPIOH_CLK_ENABLE();
  __HAL_RCC_GPIOA_CLK_ENABLE();
  __HAL_RCC_GPIOB_CLK_ENABLE();
  __HAL_RCC_GPIOD_CLK_ENABLE();
  __HAL_RCC_GPIOG_CLK_ENABLE();

  /*Configure GPIO pin Output Level */
  HAL_GPIO_WritePin(GPIOF, USER_OUTPUT_0_Pin|USER_OUTPUT_1_Pin|USER_OUTPUT_2_Pin|USER_OUTPUT_3_Pin
                          |STEP_DISABLE_Pin|COOLANT_Pin|SPINDLE_ENABLE_Pin|SPINDLE_DIR_Pin, GPIO_PIN_SET);

  /*Configure GPIO pin Output Level */
  HAL_GPIO_WritePin(GPIOA, X_DIR_Pin|Z_DIR_Pin, GPIO_PIN_SET);

  /*Configure GPIO pin Output Level */
  HAL_GPIO_WritePin(GPIOB, LD1_Pin|LD3_Pin|LD2_Pin, GPIO_PIN_RESET);

  /*Configure GPIO pin Output Level */
  HAL_GPIO_WritePin(Y_DIR_GPIO_Port, Y_DIR_Pin, GPIO_PIN_SET);

  /*Configure GPIO pin Output Level */
  HAL_GPIO_WritePin(USB_PowerSwitchOn_GPIO_Port, USB_PowerSwitchOn_Pin, GPIO_PIN_RESET);

  /*Configure GPIO pin Output Level */
  HAL_GPIO_WritePin(GPIOD, EN_LV_SHIFT_Pin|DEBUG_1_Pin|DEBUG_2_Pin|DEBUG_3_Pin
                          |DEBUG_4_Pin, GPIO_PIN_RESET);

  /*Configure GPIO pins : Z_LIMIT_Pin CTRL_RESET_Pin CTRL_FEED_HOLD_Pin CTRL_CYCLE_START_Pin
                           PROBE_Pin Y_LIMIT_Pin X_LIMIT_Pin */
  GPIO_InitStruct.Pin = Z_LIMIT_Pin|CTRL_RESET_Pin|CTRL_FEED_HOLD_Pin|CTRL_CYCLE_START_Pin
                          |PROBE_Pin|Y_LIMIT_Pin|X_LIMIT_Pin;
  GPIO_InitStruct.Mode = GPIO_MODE_IT_RISING_FALLING;
  GPIO_InitStruct.Pull = GPIO_PULLUP;
  HAL_GPIO_Init(GPIOE, &GPIO_InitStruct);

  /*Configure GPIO pin : USER_Btn_Pin */
  GPIO_InitStruct.Pin = USER_Btn_Pin;
  GPIO_InitStruct.Mode = GPIO_MODE_IT_RISING;
  GPIO_InitStruct.Pull = GPIO_NOPULL;
  HAL_GPIO_Init(USER_Btn_GPIO_Port, &GPIO_InitStruct);

  /*Configure GPIO pins : USER_OUTPUT_0_Pin USER_OUTPUT_1_Pin USER_OUTPUT_2_Pin USER_OUTPUT_3_Pin
                           STEP_DISABLE_Pin COOLANT_Pin SPINDLE_ENABLE_Pin SPINDLE_DIR_Pin */
  GPIO_InitStruct.Pin = USER_OUTPUT_0_Pin|USER_OUTPUT_1_Pin|USER_OUTPUT_2_Pin|USER_OUTPUT_3_Pin
                          |STEP_DISABLE_Pin|COOLANT_Pin|SPINDLE_ENABLE_Pin|SPINDLE_DIR_Pin;
  GPIO_InitStruct.Mode = GPIO_MODE_OUTPUT_OD;
  GPIO_InitStruct.Pull = GPIO_NOPULL;
  GPIO_InitStruct.Speed = GPIO_SPEED_FREQ_LOW;
  HAL_GPIO_Init(GPIOF, &GPIO_InitStruct);

  /*Configure GPIO pins : RMII_MDC_Pin RMII_RXD0_Pin RMII_RXD1_Pin */
  GPIO_InitStruct.Pin = RMII_MDC_Pin|RMII_RXD0_Pin|RMII_RXD1_Pin;
  GPIO_InitStruct.Mode = GPIO_MODE_AF_PP;
  GPIO_InitStruct.Pull = GPIO_NOPULL;
  GPIO_InitStruct.Speed = GPIO_SPEED_FREQ_VERY_HIGH;
  GPIO_InitStruct.Alternate = GPIO_AF11_ETH;
  HAL_GPIO_Init(GPIOC, &GPIO_InitStruct);

  /*Configure GPIO pins : RMII_REF_CLK_Pin RMII_MDIO_Pin RMII_CRS_DV_Pin */
  GPIO_InitStruct.Pin = RMII_REF_CLK_Pin|RMII_MDIO_Pin|RMII_CRS_DV_Pin;
  GPIO_InitStruct.Mode = GPIO_MODE_AF_PP;
  GPIO_InitStruct.Pull = GPIO_NOPULL;
  GPIO_InitStruct.Speed = GPIO_SPEED_FREQ_VERY_HIGH;
  GPIO_InitStruct.Alternate = GPIO_AF11_ETH;
  HAL_GPIO_Init(GPIOA, &GPIO_InitStruct);

  /*Configure GPIO pins : X_DIR_Pin Z_DIR_Pin */
  GPIO_InitStruct.Pin = X_DIR_Pin|Z_DIR_Pin;
  GPIO_InitStruct.Mode = GPIO_MODE_OUTPUT_OD;
  GPIO_InitStruct.Pull = GPIO_NOPULL;
  GPIO_InitStruct.Speed = GPIO_SPEED_FREQ_HIGH;
  HAL_GPIO_Init(GPIOA, &GPIO_InitStruct);

  /*Configure GPIO pins : LD1_Pin LD3_Pin LD2_Pin */
  GPIO_InitStruct.Pin = LD1_Pin|LD3_Pin|LD2_Pin;
  GPIO_InitStruct.Mode = GPIO_MODE_OUTPUT_PP;
  GPIO_InitStruct.Pull = GPIO_NOPULL;
  GPIO_InitStruct.Speed = GPIO_SPEED_FREQ_LOW;
  HAL_GPIO_Init(GPIOB, &GPIO_InitStruct);

  /*Configure GPIO pin : Y_DIR_Pin */
  GPIO_InitStruct.Pin = Y_DIR_Pin;
  GPIO_InitStruct.Mode = GPIO_MODE_OUTPUT_OD;
  GPIO_InitStruct.Pull = GPIO_NOPULL;
  GPIO_InitStruct.Speed = GPIO_SPEED_FREQ_HIGH;
  HAL_GPIO_Init(Y_DIR_GPIO_Port, &GPIO_InitStruct);

  /*Configure GPIO pin : RMII_TXD1_Pin */
  GPIO_InitStruct.Pin = RMII_TXD1_Pin;
  GPIO_InitStruct.Mode = GPIO_MODE_AF_PP;
  GPIO_InitStruct.Pull = GPIO_NOPULL;
  GPIO_InitStruct.Speed = GPIO_SPEED_FREQ_VERY_HIGH;
  GPIO_InitStruct.Alternate = GPIO_AF11_ETH;
  HAL_GPIO_Init(RMII_TXD1_GPIO_Port, &GPIO_InitStruct);

  /*Configure GPIO pins : STLK_RX_Pin STLK_TX_Pin */
  GPIO_InitStruct.Pin = STLK_RX_Pin|STLK_TX_Pin;
  GPIO_InitStruct.Mode = GPIO_MODE_AF_PP;
  GPIO_InitStruct.Pull = GPIO_NOPULL;
  GPIO_InitStruct.Speed = GPIO_SPEED_FREQ_VERY_HIGH;
  GPIO_InitStruct.Alternate = GPIO_AF7_USART3;
  HAL_GPIO_Init(GPIOD, &GPIO_InitStruct);

  /*Configure GPIO pin : USB_PowerSwitchOn_Pin */
  GPIO_InitStruct.Pin = USB_PowerSwitchOn_Pin;
  GPIO_InitStruct.Mode = GPIO_MODE_OUTPUT_PP;
  GPIO_InitStruct.Pull = GPIO_NOPULL;
  GPIO_InitStruct.Speed = GPIO_SPEED_FREQ_LOW;
  HAL_GPIO_Init(USB_PowerSwitchOn_GPIO_Port, &GPIO_InitStruct);

  /*Configure GPIO pin : USB_OverCurrent_Pin */
  GPIO_InitStruct.Pin = USB_OverCurrent_Pin;
  GPIO_InitStruct.Mode = GPIO_MODE_INPUT;
  GPIO_InitStruct.Pull = GPIO_NOPULL;
  HAL_GPIO_Init(USB_OverCurrent_GPIO_Port, &GPIO_InitStruct);

  /*Configure GPIO pins : USB_SOF_Pin USB_ID_Pin USB_DM_Pin USB_DP_Pin */
  GPIO_InitStruct.Pin = USB_SOF_Pin|USB_ID_Pin|USB_DM_Pin|USB_DP_Pin;
  GPIO_InitStruct.Mode = GPIO_MODE_AF_PP;
  GPIO_InitStruct.Pull = GPIO_NOPULL;
  GPIO_InitStruct.Speed = GPIO_SPEED_FREQ_VERY_HIGH;
  GPIO_InitStruct.Alternate = GPIO_AF10_OTG_FS;
  HAL_GPIO_Init(GPIOA, &GPIO_InitStruct);

  /*Configure GPIO pin : USB_VBUS_Pin */
  GPIO_InitStruct.Pin = USB_VBUS_Pin;
  GPIO_InitStruct.Mode = GPIO_MODE_INPUT;
  GPIO_InitStruct.Pull = GPIO_NOPULL;
  HAL_GPIO_Init(USB_VBUS_GPIO_Port, &GPIO_InitStruct);

  /*Configure GPIO pin : EN_LV_SHIFT_Pin */
  GPIO_InitStruct.Pin = EN_LV_SHIFT_Pin;
  GPIO_InitStruct.Mode = GPIO_MODE_OUTPUT_OD;
  GPIO_InitStruct.Pull = GPIO_NOPULL;
  GPIO_InitStruct.Speed = GPIO_SPEED_FREQ_LOW;
  HAL_GPIO_Init(EN_LV_SHIFT_GPIO_Port, &GPIO_InitStruct);

  /*Configure GPIO pins : DEBUG_1_Pin DEBUG_2_Pin DEBUG_3_Pin DEBUG_4_Pin */
  GPIO_InitStruct.Pin = DEBUG_1_Pin|DEBUG_2_Pin|DEBUG_3_Pin|DEBUG_4_Pin;
  GPIO_InitStruct.Mode = GPIO_MODE_OUTPUT_PP;
  GPIO_InitStruct.Pull = GPIO_NOPULL;
  GPIO_InitStruct.Speed = GPIO_SPEED_FREQ_LOW;
  HAL_GPIO_Init(GPIOD, &GPIO_InitStruct);

  /*Configure GPIO pins : RMII_TX_EN_Pin RMII_TXD0_Pin */
  GPIO_InitStruct.Pin = RMII_TX_EN_Pin|RMII_TXD0_Pin;
  GPIO_InitStruct.Mode = GPIO_MODE_AF_PP;
  GPIO_InitStruct.Pull = GPIO_NOPULL;
  GPIO_InitStruct.Speed = GPIO_SPEED_FREQ_VERY_HIGH;
  GPIO_InitStruct.Alternate = GPIO_AF11_ETH;
  HAL_GPIO_Init(GPIOG, &GPIO_InitStruct);

  /* EXTI interrupt init*/
  HAL_NVIC_SetPriority(EXTI0_IRQn, 2, 0);
  HAL_NVIC_EnableIRQ(EXTI0_IRQn);

  HAL_NVIC_SetPriority(EXTI2_IRQn, 2, 0);
  HAL_NVIC_EnableIRQ(EXTI2_IRQn);

  HAL_NVIC_SetPriority(EXTI3_IRQn, 2, 0);
  HAL_NVIC_EnableIRQ(EXTI3_IRQn);

  HAL_NVIC_SetPriority(EXTI4_IRQn, 15, 0);
  HAL_NVIC_EnableIRQ(EXTI4_IRQn);

  HAL_NVIC_SetPriority(EXTI9_5_IRQn, 14, 0);
  HAL_NVIC_EnableIRQ(EXTI9_5_IRQn);

  HAL_NVIC_SetPriority(EXTI15_10_IRQn, 2, 0);
  HAL_NVIC_EnableIRQ(EXTI15_10_IRQn);

}

/* USER CODE BEGIN 4 */

void vLoggingPrintf(const char *pcFormatString, ...)
{
  xSemaphoreTake(loggingSemaphoreHandle, portMAX_DELAY);

  // SEGGER_SYSVIEW_PrintfTarget(pcFormatString);
  va_list arg;

  va_start(arg, pcFormatString);
  vprintf(pcFormatString, arg);
  va_end(arg);

  xSemaphoreGive(loggingSemaphoreHandle);
}

void vApplicationMallocFailedHook(void)
{
  static volatile uint32_t ulMallocFailures = 0;

  /* Called if a call to pvPortMalloc() fails because there is insufficient
  free memory available in the FreeRTOS heap.  pvPortMalloc() is called
  internally by FreeRTOS API functions that create tasks, queues, software
  timers, and semaphores.  The size of the FreeRTOS heap is set by the
  configTOTAL_HEAP_SIZE configuration constant in FreeRTOSConfig.h. */
  ulMallocFailures++;

  vLoggingPrintf("Malloc failed %d times\n", ulMallocFailures);
}

void vApplicationStackOverflowHook(TaskHandle_t xTask, char *pcTaskName)
{
  (void)pcTaskName;
  (void)xTask;

  /* Run time stack overflow checking is performed if
  configCHECK_FOR_STACK_OVERFLOW is defined to 1 or 2.  This hook
  function is called if a stack overflow is detected. */
  taskDISABLE_INTERRUPTS();
  for (;;)
    ;
}

void vApplicationIdleHook(void)
{
  // vLoggingPrintf("Idle Hook\n");

  // check if delete task semaphore is not null
  if (deleteTaskSemaphoreHandle != NULL)
  {
    // give the semaphore to delete the task
    xSemaphoreGive(deleteTaskSemaphoreHandle);
  }
}

void HAL_GPIO_EXTI_Callback(uint16_t GPIO_Pin)
{
  if ((GPIO_Pin & LIMIT_MASK) != 0)
  {
    // triggered is low and not triggered is high by default
    IO_TYPE pinState = (LIMIT_PIN & LIMIT_MASK) ^ LIMIT_MASK;

    // determine whether to trigger limit pin isr or not
    // with taking into consideration the inverted pin mask
    // if it is defined.
#ifdef INVERT_LIMIT_PIN_MASK
    pinState ^= INVERT_LIMIT_PIN_MASK;
#endif

    // check if limit sensors are inverted by settings
    // if so, invert the pin state to detect the limit
    if (settings.flags & BITFLAG_INVERT_LIMIT_PINS)
    {
      pinState ^= LIMIT_MASK;
    }

    if ((pinState & GPIO_Pin)
        && !(stepBlockedAxes & (1 << GET_AXIS_FROM_GPIO_PIN(GPIO_Pin))))
      if (limits_get_state()) limits_isr(GPIO_Pin);
  }
  else if ((GPIO_Pin & CONTROL_MASK) != 0)
  {
    // triggered is low and not triggered is high by default
    // in order to detect the trigger we need to invert the pin state
    IO_TYPE pinState = (CONTROL_PIN & CONTROL_MASK) ^ CONTROL_MASK;

    // determine whether to trigger control pin isr or not
    // with taking into consideration the inverted pin mask
    // if it is defined.
#ifdef INVERT_CONTROL_PIN_MASK
    pinState ^= INVERT_CONTROL_PIN_MASK;
#endif
    if ((pinState & GPIO_Pin) && (sys_rt_exec_alarm != EXEC_ALARM_EMG_STOP))
      system_control_pin_isr(GPIO_Pin);

    /**
     * TODO: Debounce the control pins
     */
    // if (utilsDebouncePin(CONTROL_GPIO_GROUP, GPIO_Pin, 10, GPIO_PIN_RESET) == HAL_OK)
    // {
    //   system_control_pin_isr(GPIO_Pin);
    // }
  }
  else if ((GPIO_Pin & PROBE_MASK) != 0)
  {
    if (sys_probe_state == PROBE_ACTIVE) // probing is on going
    {
      probe_state_monitor();
    }
  }
}

void startWWDG()
{
  wwdgStartFlag = 1;
  MX_WWDG_Init();
}
/* USER CODE END 4 */

void HAL_TIM_PeriodElapsedCallback(TIM_HandleTypeDef *htim)
{
  if (htim->Instance == TIM6) {
    HAL_IncTick();
  }
  /* USER CODE BEGIN Callback 1 */
  else if (htim->Instance == TIM7)
  {
    encoderInterruptHandler();
  }
  else if (htim->Instance == TIM14)
  {
    utilsUsTimerInterruptHandler();
  }

  /* USER CODE END Callback 1 */
}

void Error_Handler(void)
{
  __disable_irq();
  while (1)
  {
  }
}
